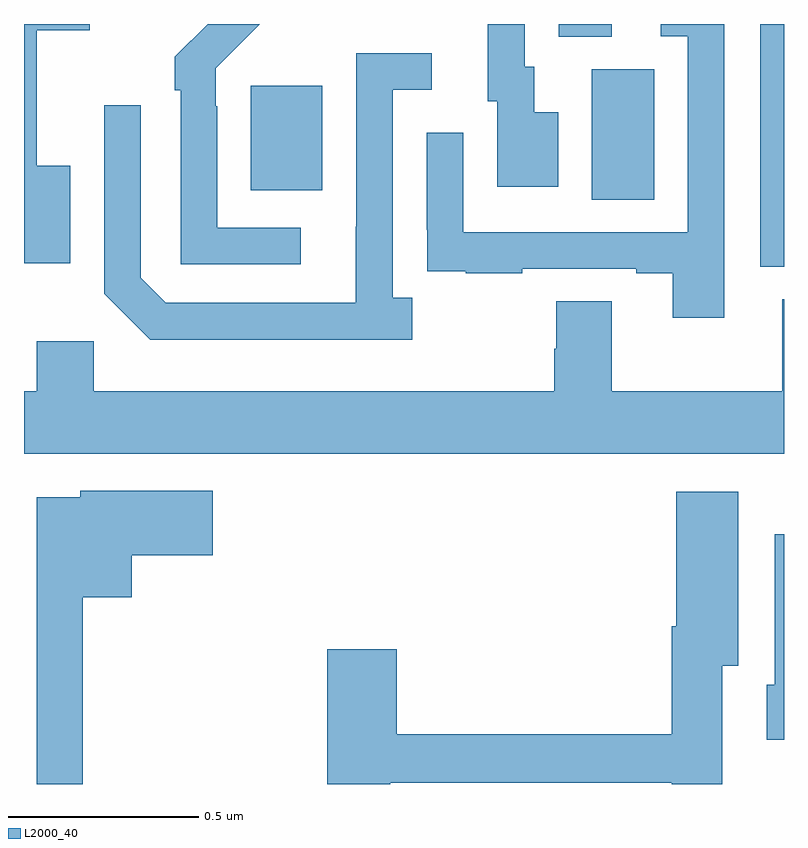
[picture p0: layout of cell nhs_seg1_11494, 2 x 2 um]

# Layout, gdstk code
import gdstk
lib = gdstk.Library(unit=1e-6, precision=1e-09)
def R(c, l, rs):  # rectangles x0, y0, x1, y1
    for r in rs: c.add(gdstk.rectangle(r[:2], r[2:], *l))
def P(c, l, *ps):  # polygons
    for p in ps: c.add(gdstk.Polygon(p, *l))
L2000_40 = (2000, 40)

nhs_seg1_11494 = lib.new_cell('nhs_seg1_11494')
R(nhs_seg1_11494, L2000_40, [(255.938,549.56,256,550.199), (255.494,549.736,255.658,550.08), (254.597,549.761,254.785,550.036), (255.407,550.165,255.547,550.199)])
P(nhs_seg1_11494, L2000_40, [(255.406,549.967),(255.343,549.967),(255.343,550.086),(255.318,550.086),(255.318,550.199),(255.221,550.199),(255.221,549.996),(255.245,549.996),(255.245,549.771),(255.406,549.771)],
  [(254.122,549.826),(254.033,549.826),(254.033,550.182),(254.173,550.182),(254.173,550.199),(254,550.199),(254,549.569),(254.122,549.569)],
  [(255.843,550.199),(255.675,550.199),(255.675,550.167),(255.747,550.167),(255.747,549.651),(255.156,549.651),(255.156,549.913),(255.06,549.913),(255.06,549.658),(255.061,549.658),(255.061,549.549),(255.163,549.549),(255.163,549.543),(255.311,549.543),(255.311,549.555),(255.611,549.555),(255.611,549.543),(255.707,549.543),(255.707,549.426),(255.843,549.426)],
  [(254.728,549.663),(254.508,549.663),(254.508,549.983),(254.505,549.983),(254.505,550.083),(254.621,550.199),(254.483,550.199),(254.397,550.113),(254.397,550.025),(254.412,550.025),(254.412,549.567),(254.728,549.567)],
  [(255.022,549.478),(254.97,549.478),(254.97,550.026),(255.073,550.026),(255.073,550.122),(254.874,550.122),(254.874,549.665),(254.873,549.665),(254.873,549.465),(254.373,549.465),(254.307,549.531),(254.307,549.985),(254.211,549.985),(254.211,549.489),(254.332,549.368),(255.022,549.368)],
  [(256,549.475),(255.995,549.475),(255.995,549.232),(255.547,549.232),(255.547,549.47),(255.4,549.47),(255.4,549.345),(255.395,549.345),(255.395,549.232),(254.184,549.232),(254.184,549.364),(254.033,549.364),(254.033,549.232),(254,549.232),(254,549.068),(256,549.068)],
  [(254.155,548.69),(254.284,548.69),(254.284,548.801),(254.497,548.801),(254.497,548.971),(254.148,548.971),(254.148,548.953),(254.033,548.953),(254.033,548.199),(254.155,548.199)],
  [(254.964,548.202),(255.704,548.202),(255.704,548.199),(255.838,548.199),(255.838,548.51),(255.88,548.51),(255.88,548.968),(255.716,548.968),(255.716,548.614),(255.704,548.614),(255.704,548.33),(254.981,548.33),(254.981,548.554),(254.798,548.554),(254.798,548.199),(254.964,548.199)],
  [(256,548.856),(255.975,548.856),(255.975,548.46),(255.954,548.46),(255.954,548.316),(256,548.316)])

lib.write_gds('nhs_seg1_11494.gds')
